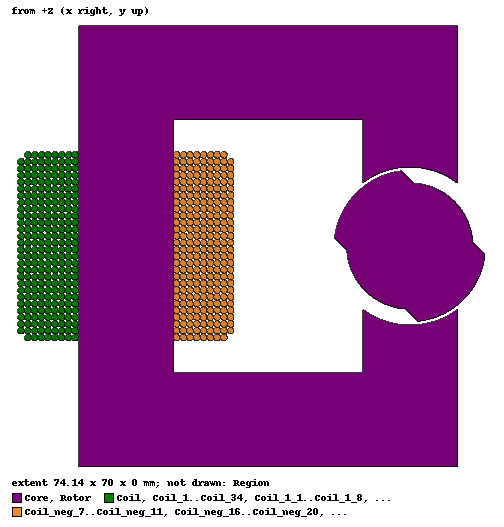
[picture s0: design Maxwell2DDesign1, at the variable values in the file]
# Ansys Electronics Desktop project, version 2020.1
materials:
  vacuum: permittivity=1
  copper: permeability=0.999991 conductivity=58000000
  air: permittivity=1.0006 permeability=1.0000004
  steel_1008: permeability{HUnit=A_per_meter BUnit=tesla curve (0, 0) (159.2, 0.2402) (318.3, 0.8654) (477.5, 1.1106) (636.6, 1.2458) (795.8, 1.331) (1591.5, 1.5) (3183.1, 1.6) (4774.6, 1.683) (6366.2, 1.741) (7957.7, 1.78) (15915.5, 1.905) (31831, 2.025) (47746.5, 2.085) (63662, 2.13) (79577.5, 2.165) (159155, 2.28) (318310, 2.485) (397887, 2.5851)} conductivity=2000000

design Maxwell2DDesign1 (Maxwell 2D, Magnetostatic, XY geometry, model units mm)
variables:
  theta_rot = 45deg
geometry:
  Rectangle1 = rectangle(corner=(-52.5mm, -35mm, 0mm), x_size=15mm, y_size=35mm)
  Rectangle2 = rectangle(corner=(-37.5mm, -35mm, 0mm), x_size=45mm, y_size=15mm)
  Rectangle3 = rectangle(corner=(-7.5mm, -20mm, 0mm), x_size=15mm, y_size=20mm)
  Rectangle1.unite(Rectangle2, Rectangle3)
  Core [steel_1008] = Rectangle1.duplicate_mirror(point=(-22mm, 0mm, 0mm), normal=(0mm, 1mm, 0mm))
  Core.unite(Rectangle1)
  Circle1 = circle(normal=Z, centre=(0mm, 0mm, 0mm), radius=12.5mm)
  Core.subtract(Circle1)
  Rotor [steel_1008] = circle(normal=Z, centre=(0mm, 0mm, 0mm), radius=10mm)
  Rectangle6 = rectangle(corner=(-7.5mm, -12mm, 0mm), x_size=15mm, y_size=24mm)
  Circle3 = circle(normal=Z, centre=(0mm, 0mm, 0mm), radius=12mm)
  Rectangle6.intersect(Circle3)
  Rotor.unite(Rectangle6)
  Rotor.rotate(axis=Z, angle=theta_rot)
  Region [air] = region(percentage_offset: +X=100, -X=100, +Y=100, -Y=100, +Z=0, -Z=0)
  Coil [copper] = circle(normal=Z, centre=(-53.0357mm, -14.4643mm, 0mm), radius=0.5357mm)
  Coil_1..Coil_27 [copper] = Coil.duplicate_along_line(step=(0mm, 1.0714mm, 0mm), total=28)
  Coil_28..Coil_34 [copper] = Coil.duplicate_along_line(step=(-1.0714mm, 0mm, 0mm), total=9)  # copies kept: 1..7
  Coil_1_1..Coil_1_8 [copper] = Coil_1.duplicate_along_line(step=(-1.0714mm, 0mm, 0mm), total=9)
  Coil_2_1..Coil_2_8 [copper] = Coil_2.duplicate_along_line(step=(-1.0714mm, 0mm, 0mm), total=9)
  Coil_3_1..Coil_3_8 [copper] = Coil_3.duplicate_along_line(step=(-1.0714mm, 0mm, 0mm), total=9)
  Coil_4_1..Coil_4_8 [copper] = Coil_4.duplicate_along_line(step=(-1.0714mm, 0mm, 0mm), total=9)
  Coil_5_1..Coil_5_8 [copper] = Coil_5.duplicate_along_line(step=(-1.0714mm, 0mm, 0mm), total=9)
  Coil_6_1..Coil_6_8 [copper] = Coil_6.duplicate_along_line(step=(-1.0714mm, 0mm, 0mm), total=9)
  Coil_7_1..Coil_7_8 [copper] = Coil_7.duplicate_along_line(step=(-1.0714mm, 0mm, 0mm), total=9)
  Coil_8_1..Coil_8_8 [copper] = Coil_8.duplicate_along_line(step=(-1.0714mm, 0mm, 0mm), total=9)
  Coil_9_1..Coil_9_8 [copper] = Coil_9.duplicate_along_line(step=(-1.0714mm, 0mm, 0mm), total=9)
  Coil_10_1..Coil_10_8 [copper] = Coil_10.duplicate_along_line(step=(-1.0714mm, 0mm, 0mm), total=9)
  Coil_11_1..Coil_11_8 [copper] = Coil_11.duplicate_along_line(step=(-1.0714mm, 0mm, 0mm), total=9)
  Coil_12_1..Coil_12_8 [copper] = Coil_12.duplicate_along_line(step=(-1.0714mm, 0mm, 0mm), total=9)
  Coil_13_1..Coil_13_8 [copper] = Coil_13.duplicate_along_line(step=(-1.0714mm, 0mm, 0mm), total=9)
  Coil_14_1..Coil_14_8 [copper] = Coil_14.duplicate_along_line(step=(-1.0714mm, 0mm, 0mm), total=9)
  Coil_15_1..Coil_15_8 [copper] = Coil_15.duplicate_along_line(step=(-1.0714mm, 0mm, 0mm), total=9)
  Coil_16_1..Coil_16_8 [copper] = Coil_16.duplicate_along_line(step=(-1.0714mm, 0mm, 0mm), total=9)
  Coil_17_1..Coil_17_8 [copper] = Coil_17.duplicate_along_line(step=(-1.0714mm, 0mm, 0mm), total=9)
  Coil_18_1..Coil_18_8 [copper] = Coil_18.duplicate_along_line(step=(-1.0714mm, 0mm, 0mm), total=9)
  Coil_19_1..Coil_19_8 [copper] = Coil_19.duplicate_along_line(step=(-1.0714mm, 0mm, 0mm), total=9)
  Coil_20_1..Coil_20_8 [copper] = Coil_20.duplicate_along_line(step=(-1.0714mm, 0mm, 0mm), total=9)
  Coil_21_1..Coil_21_8 [copper] = Coil_21.duplicate_along_line(step=(-1.0714mm, 0mm, 0mm), total=9)
  Coil_22_1..Coil_22_8 [copper] = Coil_22.duplicate_along_line(step=(-1.0714mm, 0mm, 0mm), total=9)
  Coil_23_1..Coil_23_8 [copper] = Coil_23.duplicate_along_line(step=(-1.0714mm, 0mm, 0mm), total=9)
  Coil_24_1..Coil_24_8 [copper] = Coil_24.duplicate_along_line(step=(-1.0714mm, 0mm, 0mm), total=9)
  Coil_25_1..Coil_25_8 [copper] = Coil_25.duplicate_along_line(step=(-1.0714mm, 0mm, 0mm), total=9)
  Coil_26_1..Coil_26_8 [copper] = Coil_26.duplicate_along_line(step=(-1.0714mm, 0mm, 0mm), total=9)
  Coil_27_1..Coil_27_7 [copper] = Coil_27.duplicate_along_line(step=(-1.0714mm, 0mm, 0mm), total=9)  # copies kept: 1..7
  Coil_neg [copper] = circle(normal=Z, centre=(-36.9643mm, -14.4643mm, 0mm), radius=0.5357mm)
  Coil_neg_1..Coil_neg_27 [copper] = Coil_neg.duplicate_along_line(step=(0mm, 1.0714mm, 0mm), total=28)
  Coil_neg_28..Coil_neg_34 [copper] = Coil_neg.duplicate_along_line(step=(1.0714mm, 0mm, 0mm), total=9)  # copies kept: 1..7
  Coil_neg_1_1..Coil_neg_1_8 [copper] = Coil_neg_1.duplicate_along_line(step=(1.0714mm, 0mm, 0mm), total=9)
  Coil_neg_2_1..Coil_neg_2_8 [copper] = Coil_neg_2.duplicate_along_line(step=(1.0714mm, 0mm, 0mm), total=9)
  Coil_neg_3_1..Coil_neg_3_8 [copper] = Coil_neg_3.duplicate_along_line(step=(1.0714mm, 0mm, 0mm), total=9)
  Coil_neg_4_1..Coil_neg_4_8 [copper] = Coil_neg_4.duplicate_along_line(step=(1.0714mm, 0mm, 0mm), total=9)
  Coil_neg_5_1..Coil_neg_5_8 [copper] = Coil_neg_5.duplicate_along_line(step=(1.0714mm, 0mm, 0mm), total=9)
  Coil_neg_6_1..Coil_neg_6_8 [copper] = Coil_neg_6.duplicate_along_line(step=(1.0714mm, 0mm, 0mm), total=9)
  Coil_neg_7_1..Coil_neg_7_8 [copper] = Coil_neg_7.duplicate_along_line(step=(1.0714mm, 0mm, 0mm), total=9)
  Coil_neg_8_1..Coil_neg_8_8 [copper] = Coil_neg_8.duplicate_along_line(step=(1.0714mm, 0mm, 0mm), total=9)
  Coil_neg_9_1..Coil_neg_9_8 [copper] = Coil_neg_9.duplicate_along_line(step=(1.0714mm, 0mm, 0mm), total=9)
  Coil_neg_10_1..Coil_neg_10_8 [copper] = Coil_neg_10.duplicate_along_line(step=(1.0714mm, 0mm, 0mm), total=9)
  Coil_neg_11_1..Coil_neg_11_8 [copper] = Coil_neg_11.duplicate_along_line(step=(1.0714mm, 0mm, 0mm), total=9)
  Coil_neg_12_1..Coil_neg_12_8 [copper] = Coil_neg_12.duplicate_along_line(step=(1.0714mm, 0mm, 0mm), total=9)
  Coil_neg_13_1..Coil_neg_13_8 [copper] = Coil_neg_13.duplicate_along_line(step=(1.0714mm, 0mm, 0mm), total=9)
  Coil_neg_14_1..Coil_neg_14_8 [copper] = Coil_neg_14.duplicate_along_line(step=(1.0714mm, 0mm, 0mm), total=9)
  Coil_neg_15_1..Coil_neg_15_8 [copper] = Coil_neg_15.duplicate_along_line(step=(1.0714mm, 0mm, 0mm), total=9)
  Coil_neg_16_1..Coil_neg_16_8 [copper] = Coil_neg_16.duplicate_along_line(step=(1.0714mm, 0mm, 0mm), total=9)
  Coil_neg_17_1..Coil_neg_17_8 [copper] = Coil_neg_17.duplicate_along_line(step=(1.0714mm, 0mm, 0mm), total=9)
  Coil_neg_18_1..Coil_neg_18_8 [copper] = Coil_neg_18.duplicate_along_line(step=(1.0714mm, 0mm, 0mm), total=9)
  Coil_neg_19_1..Coil_neg_19_8 [copper] = Coil_neg_19.duplicate_along_line(step=(1.0714mm, 0mm, 0mm), total=9)
  Coil_neg_20_1..Coil_neg_20_8 [copper] = Coil_neg_20.duplicate_along_line(step=(1.0714mm, 0mm, 0mm), total=9)
  Coil_neg_21_1..Coil_neg_21_8 [copper] = Coil_neg_21.duplicate_along_line(step=(1.0714mm, 0mm, 0mm), total=9)
  Coil_neg_22_1..Coil_neg_22_8 [copper] = Coil_neg_22.duplicate_along_line(step=(1.0714mm, 0mm, 0mm), total=9)
  Coil_neg_23_1..Coil_neg_23_8 [copper] = Coil_neg_23.duplicate_along_line(step=(1.0714mm, 0mm, 0mm), total=9)
  Coil_neg_24_1..Coil_neg_24_8 [copper] = Coil_neg_24.duplicate_along_line(step=(1.0714mm, 0mm, 0mm), total=9)
  Coil_neg_25_1..Coil_neg_25_8 [copper] = Coil_neg_25.duplicate_along_line(step=(1.0714mm, 0mm, 0mm), total=9)
  Coil_neg_26_1..Coil_neg_26_8 [copper] = Coil_neg_26.duplicate_along_line(step=(1.0714mm, 0mm, 0mm), total=9)
  Coil_neg_27_1..Coil_neg_27_7 [copper] = Coil_neg_27.duplicate_along_line(step=(1.0714mm, 0mm, 0mm), total=9)  # copies kept: 1..7
  group Coil_positive = Coil, Coil_1..Coil_34, Coil_1_1..Coil_1_8, Coil_2_1..Coil_2_8, Coil_3_1..Coil_3_8, Coil_4_1..Coil_4_8, Coil_5_1..Coil_5_8, Coil_6_1..Coil_6_8, Coil_7_1..Coil_7_8, Coil_8_1..Coil_8_8, Coil_9_1..Coil_9_8, Coil_10_1..Coil_10_8, Coil_11_1..Coil_11_8, Coil_12_1..Coil_12_8, Coil_13_1..Coil_13_8, Coil_14_1..Coil_14_8, Coil_15_1..Coil_15_8, Coil_16_1..Coil_16_8, Coil_17_1..Coil_17_8, Coil_18_1..Coil_18_8, Coil_19_1..Coil_19_8, Coil_20_1..Coil_20_8, Coil_21_1..Coil_21_8, Coil_22_1..Coil_22_8, Coil_23_1..Coil_23_8, Coil_24_1..Coil_24_8, Coil_25_1..Coil_25_8, Coil_26_1..Coil_26_8, Coil_27_1..Coil_27_7
  group Coil_neg_Group = Coil_neg, Coil_neg_1..Coil_neg_34, Coil_neg_1_1..Coil_neg_1_8, Coil_neg_2_1..Coil_neg_2_8, Coil_neg_3_1..Coil_neg_3_8, Coil_neg_4_1..Coil_neg_4_8, Coil_neg_5_1..Coil_neg_5_8, Coil_neg_6_1..Coil_neg_6_8, Coil_neg_7_1..Coil_neg_7_8, Coil_neg_8_1..Coil_neg_8_8, Coil_neg_9_1..Coil_neg_9_8, Coil_neg_10_1..Coil_neg_10_8, Coil_neg_11_1..Coil_neg_11_8, Coil_neg_12_1..Coil_neg_12_8, Coil_neg_13_1..Coil_neg_13_8, Coil_neg_14_1..Coil_neg_14_8, Coil_neg_15_1..Coil_neg_15_8, Coil_neg_16_1..Coil_neg_16_8, Coil_neg_17_1..Coil_neg_17_8, Coil_neg_18_1..Coil_neg_18_8, Coil_neg_19_1..Coil_neg_19_8, Coil_neg_20_1..Coil_neg_20_8, Coil_neg_21_1..Coil_neg_21_8, Coil_neg_22_1..Coil_neg_22_8, Coil_neg_23_1..Coil_neg_23_8, Coil_neg_24_1..Coil_neg_24_8, Coil_neg_25_1..Coil_neg_25_8, Coil_neg_26_1..Coil_neg_26_8, Coil_neg_27_1..Coil_neg_27_7
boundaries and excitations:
  Balloon1: Balloon Edges=Region.edge(all 4)
  Current_1: Current Objects=Coil Current=3A IsPositive=true
  Current_2: Current Objects=Coil_1 Current=3A IsPositive=true
  Current_3: Current Objects=Coil_1_1 Current=3A IsPositive=true
  Current_4: Current Objects=Coil_1_2 Current=3A IsPositive=true
  Current_5: Current Objects=Coil_1_3 Current=3A IsPositive=true
  Current_6: Current Objects=Coil_1_4 Current=3A IsPositive=true
  Current_7: Current Objects=Coil_1_5 Current=3A IsPositive=true
  Current_8: Current Objects=Coil_1_6 Current=3A IsPositive=true
  Current_9: Current Objects=Coil_1_7 Current=3A IsPositive=true
  Current_10: Current Objects=Coil_1_8 Current=3A IsPositive=true
  Current_11: Current Objects=Coil_2 Current=3A IsPositive=true
  Current_12: Current Objects=Coil_2_1 Current=3A IsPositive=true
  Current_13: Current Objects=Coil_2_2 Current=3A IsPositive=true
  Current_14: Current Objects=Coil_2_3 Current=3A IsPositive=true
  Current_15: Current Objects=Coil_2_4 Current=3A IsPositive=true
  Current_16: Current Objects=Coil_2_5 Current=3A IsPositive=true
  Current_17: Current Objects=Coil_2_6 Current=3A IsPositive=true
  Current_18: Current Objects=Coil_2_7 Current=3A IsPositive=true
  Current_19: Current Objects=Coil_2_8 Current=3A IsPositive=true
  Current_20: Current Objects=Coil_3 Current=3A IsPositive=true
  Current_21: Current Objects=Coil_3_1 Current=3A IsPositive=true
  Current_22: Current Objects=Coil_3_2 Current=3A IsPositive=true
  Current_23: Current Objects=Coil_3_3 Current=3A IsPositive=true
  Current_24: Current Objects=Coil_3_4 Current=3A IsPositive=true
  Current_25: Current Objects=Coil_3_5 Current=3A IsPositive=true
  Current_26: Current Objects=Coil_3_6 Current=3A IsPositive=true
  Current_27: Current Objects=Coil_3_7 Current=3A IsPositive=true
  Current_28: Current Objects=Coil_3_8 Current=3A IsPositive=true
  Current_29: Current Objects=Coil_4 Current=3A IsPositive=true
  Current_30: Current Objects=Coil_4_1 Current=3A IsPositive=true
  Current_31: Current Objects=Coil_4_2 Current=3A IsPositive=true
  Current_32: Current Objects=Coil_4_3 Current=3A IsPositive=true
  Current_33: Current Objects=Coil_4_4 Current=3A IsPositive=true
  Current_34: Current Objects=Coil_4_5 Current=3A IsPositive=true
  Current_35: Current Objects=Coil_4_6 Current=3A IsPositive=true
  Current_36: Current Objects=Coil_4_7 Current=3A IsPositive=true
  Current_37: Current Objects=Coil_4_8 Current=3A IsPositive=true
  Current_38: Current Objects=Coil_5 Current=3A IsPositive=true
  Current_39: Current Objects=Coil_5_1 Current=3A IsPositive=true
  Current_40: Current Objects=Coil_5_2 Current=3A IsPositive=true
  Current_41: Current Objects=Coil_5_3 Current=3A IsPositive=true
  Current_42: Current Objects=Coil_5_4 Current=3A IsPositive=true
  Current_43: Current Objects=Coil_5_5 Current=3A IsPositive=true
  Current_44: Current Objects=Coil_5_6 Current=3A IsPositive=true
  Current_45: Current Objects=Coil_5_7 Current=3A IsPositive=true
  Current_46: Current Objects=Coil_5_8 Current=3A IsPositive=true
  Current_47: Current Objects=Coil_6 Current=3A IsPositive=true
  Current_48: Current Objects=Coil_6_1 Current=3A IsPositive=true
  Current_49: Current Objects=Coil_6_2 Current=3A IsPositive=true
  Current_50: Current Objects=Coil_6_3 Current=3A IsPositive=true
  Current_51: Current Objects=Coil_6_4 Current=3A IsPositive=true
  Current_52: Current Objects=Coil_6_5 Current=3A IsPositive=true
  Current_53: Current Objects=Coil_6_6 Current=3A IsPositive=true
  Current_54: Current Objects=Coil_6_7 Current=3A IsPositive=true
  Current_55: Current Objects=Coil_6_8 Current=3A IsPositive=true
  Current_56: Current Objects=Coil_7 Current=3A IsPositive=true
  Current_57: Current Objects=Coil_7_1 Current=3A IsPositive=true
  Current_58: Current Objects=Coil_7_2 Current=3A IsPositive=true
  Current_59: Current Objects=Coil_7_3 Current=3A IsPositive=true
  Current_60: Current Objects=Coil_7_4 Current=3A IsPositive=true
  Current_61: Current Objects=Coil_7_5 Current=3A IsPositive=true
  Current_62: Current Objects=Coil_7_6 Current=3A IsPositive=true
  Current_63: Current Objects=Coil_7_7 Current=3A IsPositive=true
  Current_64: Current Objects=Coil_7_8 Current=3A IsPositive=true
  Current_65: Current Objects=Coil_8 Current=3A IsPositive=true
  Current_66: Current Objects=Coil_8_1 Current=3A IsPositive=true
  Current_67: Current Objects=Coil_8_2 Current=3A IsPositive=true
  Current_68: Current Objects=Coil_8_3 Current=3A IsPositive=true
  Current_69: Current Objects=Coil_8_4 Current=3A IsPositive=true
  Current_70: Current Objects=Coil_8_5 Current=3A IsPositive=true
  Current_71: Current Objects=Coil_8_6 Current=3A IsPositive=true
  Current_72: Current Objects=Coil_8_7 Current=3A IsPositive=true
  Current_73: Current Objects=Coil_8_8 Current=3A IsPositive=true
  Current_74: Current Objects=Coil_9 Current=3A IsPositive=true
  Current_75: Current Objects=Coil_9_1 Current=3A IsPositive=true
  Current_76: Current Objects=Coil_9_2 Current=3A IsPositive=true
  Current_77: Current Objects=Coil_9_3 Current=3A IsPositive=true
  Current_78: Current Objects=Coil_9_4 Current=3A IsPositive=true
  Current_79: Current Objects=Coil_9_5 Current=3A IsPositive=true
  Current_80: Current Objects=Coil_9_6 Current=3A IsPositive=true
  Current_81: Current Objects=Coil_9_7 Current=3A IsPositive=true
  Current_82: Current Objects=Coil_9_8 Current=3A IsPositive=true
  Current_83: Current Objects=Coil_10 Current=3A IsPositive=true
  Current_84: Current Objects=Coil_10_1 Current=3A IsPositive=true
  Current_85: Current Objects=Coil_10_2 Current=3A IsPositive=true
  Current_86: Current Objects=Coil_10_3 Current=3A IsPositive=true
  Current_87: Current Objects=Coil_10_4 Current=3A IsPositive=true
  Current_88: Current Objects=Coil_10_5 Current=3A IsPositive=true
  Current_89: Current Objects=Coil_10_6 Current=3A IsPositive=true
  Current_90: Current Objects=Coil_10_7 Current=3A IsPositive=true
  Current_91: Current Objects=Coil_10_8 Current=3A IsPositive=true
  Current_92: Current Objects=Coil_11 Current=3A IsPositive=true
  Current_93: Current Objects=Coil_11_1 Current=3A IsPositive=true
  Current_94: Current Objects=Coil_11_2 Current=3A IsPositive=true
  Current_95: Current Objects=Coil_11_3 Current=3A IsPositive=true
  Current_96: Current Objects=Coil_11_4 Current=3A IsPositive=true
  Current_97: Current Objects=Coil_11_5 Current=3A IsPositive=true
  Current_98: Current Objects=Coil_11_6 Current=3A IsPositive=true
  Current_99: Current Objects=Coil_11_7 Current=3A IsPositive=true
  Current_100: Current Objects=Coil_11_8 Current=3A IsPositive=true
  Current_101: Current Objects=Coil_12 Current=3A IsPositive=true
  Current_102: Current Objects=Coil_12_1 Current=3A IsPositive=true
  Current_103: Current Objects=Coil_12_2 Current=3A IsPositive=true
  Current_104: Current Objects=Coil_12_3 Current=3A IsPositive=true
  Current_105: Current Objects=Coil_12_4 Current=3A IsPositive=true
  Current_106: Current Objects=Coil_12_5 Current=3A IsPositive=true
  Current_107: Current Objects=Coil_12_6 Current=3A IsPositive=true
  Current_108: Current Objects=Coil_12_7 Current=3A IsPositive=true
  Current_109: Current Objects=Coil_12_8 Current=3A IsPositive=true
  Current_110: Current Objects=Coil_13 Current=3A IsPositive=true
  Current_111: Current Objects=Coil_13_1 Current=3A IsPositive=true
  Current_112: Current Objects=Coil_13_2 Current=3A IsPositive=true
  Current_113: Current Objects=Coil_13_3 Current=3A IsPositive=true
  Current_114: Current Objects=Coil_13_4 Current=3A IsPositive=true
  Current_115: Current Objects=Coil_13_5 Current=3A IsPositive=true
  Current_116: Current Objects=Coil_13_6 Current=3A IsPositive=true
  Current_117: Current Objects=Coil_13_7 Current=3A IsPositive=true
  Current_118: Current Objects=Coil_13_8 Current=3A IsPositive=true
  Current_119: Current Objects=Coil_14 Current=3A IsPositive=true
  Current_120: Current Objects=Coil_14_1 Current=3A IsPositive=true
  Current_121: Current Objects=Coil_14_2 Current=3A IsPositive=true
  Current_122: Current Objects=Coil_14_3 Current=3A IsPositive=true
  Current_123: Current Objects=Coil_14_4 Current=3A IsPositive=true
  Current_124: Current Objects=Coil_14_5 Current=3A IsPositive=true
  Current_125: Current Objects=Coil_14_6 Current=3A IsPositive=true
  Current_126: Current Objects=Coil_14_7 Current=3A IsPositive=true
  Current_127: Current Objects=Coil_14_8 Current=3A IsPositive=true
  Current_128: Current Objects=Coil_15 Current=3A IsPositive=true
  Current_129: Current Objects=Coil_15_1 Current=3A IsPositive=true
  Current_130: Current Objects=Coil_15_2 Current=3A IsPositive=true
  Current_131: Current Objects=Coil_15_3 Current=3A IsPositive=true
  Current_132: Current Objects=Coil_15_4 Current=3A IsPositive=true
  Current_133: Current Objects=Coil_15_5 Current=3A IsPositive=true
  Current_134: Current Objects=Coil_15_6 Current=3A IsPositive=true
  Current_135: Current Objects=Coil_15_7 Current=3A IsPositive=true
  Current_136: Current Objects=Coil_15_8 Current=3A IsPositive=true
  Current_137: Current Objects=Coil_16 Current=3A IsPositive=true
  Current_138: Current Objects=Coil_16_1 Current=3A IsPositive=true
  Current_139: Current Objects=Coil_16_2 Current=3A IsPositive=true
  Current_140: Current Objects=Coil_16_3 Current=3A IsPositive=true
  Current_141: Current Objects=Coil_16_4 Current=3A IsPositive=true
  Current_142: Current Objects=Coil_16_5 Current=3A IsPositive=true
  Current_143: Current Objects=Coil_16_6 Current=3A IsPositive=true
  Current_144: Current Objects=Coil_16_7 Current=3A IsPositive=true
  Current_145: Current Objects=Coil_16_8 Current=3A IsPositive=true
  Current_146: Current Objects=Coil_17 Current=3A IsPositive=true
  Current_147: Current Objects=Coil_17_1 Current=3A IsPositive=true
  Current_148: Current Objects=Coil_17_2 Current=3A IsPositive=true
  Current_149: Current Objects=Coil_17_3 Current=3A IsPositive=true
  Current_150: Current Objects=Coil_17_4 Current=3A IsPositive=true
  Current_151: Current Objects=Coil_17_5 Current=3A IsPositive=true
  Current_152: Current Objects=Coil_17_6 Current=3A IsPositive=true
  Current_153: Current Objects=Coil_17_7 Current=3A IsPositive=true
  Current_154: Current Objects=Coil_17_8 Current=3A IsPositive=true
  Current_155: Current Objects=Coil_18 Current=3A IsPositive=true
  Current_156: Current Objects=Coil_18_1 Current=3A IsPositive=true
  Current_157: Current Objects=Coil_18_2 Current=3A IsPositive=true
  Current_158: Current Objects=Coil_18_3 Current=3A IsPositive=true
  Current_159: Current Objects=Coil_18_4 Current=3A IsPositive=true
  Current_160: Current Objects=Coil_18_5 Current=3A IsPositive=true
  Current_161: Current Objects=Coil_18_6 Current=3A IsPositive=true
  Current_162: Current Objects=Coil_18_7 Current=3A IsPositive=true
  Current_163: Current Objects=Coil_18_8 Current=3A IsPositive=true
  Current_164: Current Objects=Coil_19 Current=3A IsPositive=true
  Current_165: Current Objects=Coil_19_1 Current=3A IsPositive=true
  Current_166: Current Objects=Coil_19_2 Current=3A IsPositive=true
  Current_167: Current Objects=Coil_19_3 Current=3A IsPositive=true
  Current_168: Current Objects=Coil_19_4 Current=3A IsPositive=true
  Current_169: Current Objects=Coil_19_5 Current=3A IsPositive=true
  Current_170: Current Objects=Coil_19_6 Current=3A IsPositive=true
  Current_171: Current Objects=Coil_19_7 Current=3A IsPositive=true
  Current_172: Current Objects=Coil_19_8 Current=3A IsPositive=true
  Current_173: Current Objects=Coil_20 Current=3A IsPositive=true
  Current_174: Current Objects=Coil_20_1 Current=3A IsPositive=true
  Current_175: Current Objects=Coil_20_2 Current=3A IsPositive=true
  Current_176: Current Objects=Coil_20_3 Current=3A IsPositive=true
  Current_177: Current Objects=Coil_20_4 Current=3A IsPositive=true
  Current_178: Current Objects=Coil_20_5 Current=3A IsPositive=true
  Current_179: Current Objects=Coil_20_6 Current=3A IsPositive=true
  Current_180: Current Objects=Coil_20_7 Current=3A IsPositive=true
  Current_181: Current Objects=Coil_20_8 Current=3A IsPositive=true
  Current_182: Current Objects=Coil_21 Current=3A IsPositive=true
  Current_183: Current Objects=Coil_21_1 Current=3A IsPositive=true
  Current_184: Current Objects=Coil_21_2 Current=3A IsPositive=true
  Current_185: Current Objects=Coil_21_3 Current=3A IsPositive=true
  Current_186: Current Objects=Coil_21_4 Current=3A IsPositive=true
  Current_187: Current Objects=Coil_21_5 Current=3A IsPositive=true
  Current_188: Current Objects=Coil_21_6 Current=3A IsPositive=true
  Current_189: Current Objects=Coil_21_7 Current=3A IsPositive=true
  Current_190: Current Objects=Coil_21_8 Current=3A IsPositive=true
  Current_191: Current Objects=Coil_22 Current=3A IsPositive=true
  Current_192: Current Objects=Coil_22_1 Current=3A IsPositive=true
  Current_193: Current Objects=Coil_22_2 Current=3A IsPositive=true
  Current_194: Current Objects=Coil_22_3 Current=3A IsPositive=true
  Current_195: Current Objects=Coil_22_4 Current=3A IsPositive=true
  Current_196: Current Objects=Coil_22_5 Current=3A IsPositive=true
  Current_197: Current Objects=Coil_22_6 Current=3A IsPositive=true
  Current_198: Current Objects=Coil_22_7 Current=3A IsPositive=true
  Current_199: Current Objects=Coil_22_8 Current=3A IsPositive=true
  Current_200: Current Objects=Coil_23 Current=3A IsPositive=true
  Current_201: Current Objects=Coil_23_1 Current=3A IsPositive=true
  Current_202: Current Objects=Coil_23_2 Current=3A IsPositive=true
  Current_203: Current Objects=Coil_23_3 Current=3A IsPositive=true
  Current_204: Current Objects=Coil_23_4 Current=3A IsPositive=true
  Current_205: Current Objects=Coil_23_5 Current=3A IsPositive=true
  Current_206: Current Objects=Coil_23_6 Current=3A IsPositive=true
  Current_207: Current Objects=Coil_23_7 Current=3A IsPositive=true
  Current_208: Current Objects=Coil_23_8 Current=3A IsPositive=true
  Current_209: Current Objects=Coil_24 Current=3A IsPositive=true
  Current_210: Current Objects=Coil_24_1 Current=3A IsPositive=true
  Current_211: Current Objects=Coil_24_2 Current=3A IsPositive=true
  Current_212: Current Objects=Coil_24_3 Current=3A IsPositive=true
  Current_213: Current Objects=Coil_24_4 Current=3A IsPositive=true
  Current_214: Current Objects=Coil_24_5 Current=3A IsPositive=true
  Current_215: Current Objects=Coil_24_6 Current=3A IsPositive=true
  Current_216: Current Objects=Coil_24_7 Current=3A IsPositive=true
  Current_217: Current Objects=Coil_24_8 Current=3A IsPositive=true
  Current_218: Current Objects=Coil_25 Current=3A IsPositive=true
  Current_219: Current Objects=Coil_25_1 Current=3A IsPositive=true
  Current_220: Current Objects=Coil_25_2 Current=3A IsPositive=true
  Current_221: Current Objects=Coil_25_3 Current=3A IsPositive=true
  Current_222: Current Objects=Coil_25_4 Current=3A IsPositive=true
  Current_223: Current Objects=Coil_25_5 Current=3A IsPositive=true
  Current_224: Current Objects=Coil_25_6 Current=3A IsPositive=true
  Current_225: Current Objects=Coil_25_7 Current=3A IsPositive=true
  Current_226: Current Objects=Coil_25_8 Current=3A IsPositive=true
  Current_227: Current Objects=Coil_26 Current=3A IsPositive=true
  Current_228: Current Objects=Coil_26_1 Current=3A IsPositive=true
  Current_229: Current Objects=Coil_26_2 Current=3A IsPositive=true
  Current_230: Current Objects=Coil_26_3 Current=3A IsPositive=true
  Current_231: Current Objects=Coil_26_4 Current=3A IsPositive=true
  Current_232: Current Objects=Coil_26_5 Current=3A IsPositive=true
  Current_233: Current Objects=Coil_26_6 Current=3A IsPositive=true
  Current_234: Current Objects=Coil_26_7 Current=3A IsPositive=true
  Current_235: Current Objects=Coil_26_8 Current=3A IsPositive=true
  Current_236: Current Objects=Coil_27 Current=3A IsPositive=true
  Current_237: Current Objects=Coil_27_1 Current=3A IsPositive=true
  Current_238: Current Objects=Coil_27_2 Current=3A IsPositive=true
  Current_239: Current Objects=Coil_27_3 Current=3A IsPositive=true
  Current_240: Current Objects=Coil_27_4 Current=3A IsPositive=true
  Current_241: Current Objects=Coil_27_5 Current=3A IsPositive=true
  Current_242: Current Objects=Coil_27_6 Current=3A IsPositive=true
  Current_243: Current Objects=Coil_27_7 Current=3A IsPositive=true
  Current_245: Current Objects=Coil_28 Current=3A IsPositive=true
  Current_246: Current Objects=Coil_29 Current=3A IsPositive=true
  Current_247: Current Objects=Coil_30 Current=3A IsPositive=true
  Current_248: Current Objects=Coil_31 Current=3A IsPositive=true
  Current_249: Current Objects=Coil_32 Current=3A IsPositive=true
  Current_250: Current Objects=Coil_33 Current=3A IsPositive=true
  Current_251: Current Objects=Coil_34 Current=3A IsPositive=true
  Current_253: Current Objects=Coil_neg Current=3A IsPositive=false
  Current_254: Current Objects=Coil_neg_1 Current=3A IsPositive=false
  Current_255: Current Objects=Coil_neg_1_1 Current=3A IsPositive=false
  Current_256: Current Objects=Coil_neg_1_2 Current=3A IsPositive=false
  Current_257: Current Objects=Coil_neg_1_3 Current=3A IsPositive=false
  Current_258: Current Objects=Coil_neg_1_4 Current=3A IsPositive=false
  Current_259: Current Objects=Coil_neg_1_5 Current=3A IsPositive=false
  Current_260: Current Objects=Coil_neg_1_6 Current=3A IsPositive=false
  Current_261: Current Objects=Coil_neg_1_7 Current=3A IsPositive=false
  Current_262: Current Objects=Coil_neg_1_8 Current=3A IsPositive=false
  Current_263: Current Objects=Coil_neg_2 Current=3A IsPositive=false
  Current_264: Current Objects=Coil_neg_2_1 Current=3A IsPositive=false
  Current_265: Current Objects=Coil_neg_2_2 Current=3A IsPositive=false
  Current_266: Current Objects=Coil_neg_2_3 Current=3A IsPositive=false
  Current_267: Current Objects=Coil_neg_2_4 Current=3A IsPositive=false
  Current_268: Current Objects=Coil_neg_2_5 Current=3A IsPositive=false
  Current_269: Current Objects=Coil_neg_2_6 Current=3A IsPositive=false
  Current_270: Current Objects=Coil_neg_2_7 Current=3A IsPositive=false
  Current_271: Current Objects=Coil_neg_2_8 Current=3A IsPositive=false
  Current_272: Current Objects=Coil_neg_3 Current=3A IsPositive=false
  Current_273: Current Objects=Coil_neg_3_1 Current=3A IsPositive=false
  Current_274: Current Objects=Coil_neg_3_2 Current=3A IsPositive=false
  Current_275: Current Objects=Coil_neg_3_3 Current=3A IsPositive=false
  Current_276: Current Objects=Coil_neg_3_4 Current=3A IsPositive=false
  Current_277: Current Objects=Coil_neg_3_5 Current=3A IsPositive=false
  Current_278: Current Objects=Coil_neg_3_6 Current=3A IsPositive=false
  Current_279: Current Objects=Coil_neg_3_7 Current=3A IsPositive=false
  Current_280: Current Objects=Coil_neg_3_8 Current=3A IsPositive=false
  Current_281: Current Objects=Coil_neg_4 Current=3A IsPositive=false
  Current_282: Current Objects=Coil_neg_4_1 Current=3A IsPositive=false
  Current_283: Current Objects=Coil_neg_4_2 Current=3A IsPositive=false
  Current_284: Current Objects=Coil_neg_4_3 Current=3A IsPositive=false
  Current_285: Current Objects=Coil_neg_4_4 Current=3A IsPositive=false
  Current_286: Current Objects=Coil_neg_4_5 Current=3A IsPositive=false
  Current_287: Current Objects=Coil_neg_4_6 Current=3A IsPositive=false
  Current_288: Current Objects=Coil_neg_4_7 Current=3A IsPositive=false
  Current_289: Current Objects=Coil_neg_4_8 Current=3A IsPositive=false
  Current_290: Current Objects=Coil_neg_5 Current=3A IsPositive=false
  Current_291: Current Objects=Coil_neg_5_1 Current=3A IsPositive=false
  Current_292: Current Objects=Coil_neg_5_2 Current=3A IsPositive=false
  Current_293: Current Objects=Coil_neg_5_3 Current=3A IsPositive=false
  Current_294: Current Objects=Coil_neg_5_4 Current=3A IsPositive=false
  Current_295: Current Objects=Coil_neg_5_5 Current=3A IsPositive=false
  Current_296: Current Objects=Coil_neg_5_6 Current=3A IsPositive=false
  Current_297: Current Objects=Coil_neg_5_7 Current=3A IsPositive=false
  Current_298: Current Objects=Coil_neg_5_8 Current=3A IsPositive=false
  Current_299: Current Objects=Coil_neg_6 Current=3A IsPositive=false
  Current_300: Current Objects=Coil_neg_6_1 Current=3A IsPositive=false
  Current_301: Current Objects=Coil_neg_6_2 Current=3A IsPositive=false
  Current_302: Current Objects=Coil_neg_6_3 Current=3A IsPositive=false
  Current_303: Current Objects=Coil_neg_6_4 Current=3A IsPositive=false
  Current_304: Current Objects=Coil_neg_6_5 Current=3A IsPositive=false
  Current_305: Current Objects=Coil_neg_6_6 Current=3A IsPositive=false
  Current_306: Current Objects=Coil_neg_6_7 Current=3A IsPositive=false
  Current_307: Current Objects=Coil_neg_6_8 Current=3A IsPositive=false
  Current_308: Current Objects=Coil_neg_7 Current=3A IsPositive=false
  Current_309: Current Objects=Coil_neg_7_1 Current=3A IsPositive=false
  Current_310: Current Objects=Coil_neg_7_2 Current=3A IsPositive=false
  Current_311: Current Objects=Coil_neg_7_3 Current=3A IsPositive=false
  Current_312: Current Objects=Coil_neg_7_4 Current=3A IsPositive=false
  Current_313: Current Objects=Coil_neg_7_5 Current=3A IsPositive=false
  Current_314: Current Objects=Coil_neg_7_6 Current=3A IsPositive=false
  Current_315: Current Objects=Coil_neg_7_7 Current=3A IsPositive=false
  Current_316: Current Objects=Coil_neg_7_8 Current=3A IsPositive=false
  Current_317: Current Objects=Coil_neg_8 Current=3A IsPositive=false
  Current_318: Current Objects=Coil_neg_8_1 Current=3A IsPositive=false
  Current_319: Current Objects=Coil_neg_8_2 Current=3A IsPositive=false
  Current_320: Current Objects=Coil_neg_8_3 Current=3A IsPositive=false
  Current_321: Current Objects=Coil_neg_8_4 Current=3A IsPositive=false
  Current_322: Current Objects=Coil_neg_8_5 Current=3A IsPositive=false
  Current_323: Current Objects=Coil_neg_8_6 Current=3A IsPositive=false
  Current_324: Current Objects=Coil_neg_8_7 Current=3A IsPositive=false
  Current_325: Current Objects=Coil_neg_8_8 Current=3A IsPositive=false
  Current_326: Current Objects=Coil_neg_9 Current=3A IsPositive=false
  Current_327: Current Objects=Coil_neg_9_1 Current=3A IsPositive=false
  Current_328: Current Objects=Coil_neg_9_2 Current=3A IsPositive=false
  Current_329: Current Objects=Coil_neg_9_3 Current=3A IsPositive=false
  Current_330: Current Objects=Coil_neg_9_4 Current=3A IsPositive=false
  Current_331: Current Objects=Coil_neg_9_5 Current=3A IsPositive=false
  Current_332: Current Objects=Coil_neg_9_6 Current=3A IsPositive=false
  Current_333: Current Objects=Coil_neg_9_7 Current=3A IsPositive=false
  Current_334: Current Objects=Coil_neg_9_8 Current=3A IsPositive=false
  Current_335: Current Objects=Coil_neg_10 Current=3A IsPositive=false
  Current_336: Current Objects=Coil_neg_10_1 Current=3A IsPositive=false
  Current_337: Current Objects=Coil_neg_10_2 Current=3A IsPositive=false
  Current_338: Current Objects=Coil_neg_10_3 Current=3A IsPositive=false
  Current_339: Current Objects=Coil_neg_10_4 Current=3A IsPositive=false
  Current_340: Current Objects=Coil_neg_10_5 Current=3A IsPositive=false
  Current_341: Current Objects=Coil_neg_10_6 Current=3A IsPositive=false
  Current_342: Current Objects=Coil_neg_10_7 Current=3A IsPositive=false
  Current_343: Current Objects=Coil_neg_10_8 Current=3A IsPositive=false
  Current_344: Current Objects=Coil_neg_11 Current=3A IsPositive=false
  Current_345: Current Objects=Coil_neg_11_1 Current=3A IsPositive=false
  Current_346: Current Objects=Coil_neg_11_2 Current=3A IsPositive=false
  Current_347: Current Objects=Coil_neg_11_3 Current=3A IsPositive=false
  Current_348: Current Objects=Coil_neg_11_4 Current=3A IsPositive=false
  Current_349: Current Objects=Coil_neg_11_5 Current=3A IsPositive=false
  Current_350: Current Objects=Coil_neg_11_6 Current=3A IsPositive=false
  Current_351: Current Objects=Coil_neg_11_7 Current=3A IsPositive=false
  Current_352: Current Objects=Coil_neg_11_8 Current=3A IsPositive=false
  Current_353: Current Objects=Coil_neg_12 Current=3A IsPositive=false
  Current_354: Current Objects=Coil_neg_12_1 Current=3A IsPositive=false
  Current_355: Current Objects=Coil_neg_12_2 Current=3A IsPositive=false
  Current_356: Current Objects=Coil_neg_12_3 Current=3A IsPositive=false
  Current_357: Current Objects=Coil_neg_12_4 Current=3A IsPositive=false
  Current_358: Current Objects=Coil_neg_12_5 Current=3A IsPositive=false
  Current_359: Current Objects=Coil_neg_12_6 Current=3A IsPositive=false
  Current_360: Current Objects=Coil_neg_12_7 Current=3A IsPositive=false
  Current_361: Current Objects=Coil_neg_12_8 Current=3A IsPositive=false
  Current_362: Current Objects=Coil_neg_13 Current=3A IsPositive=false
  Current_363: Current Objects=Coil_neg_13_1 Current=3A IsPositive=false
  Current_364: Current Objects=Coil_neg_13_2 Current=3A IsPositive=false
  Current_365: Current Objects=Coil_neg_13_3 Current=3A IsPositive=false
  Current_366: Current Objects=Coil_neg_13_4 Current=3A IsPositive=false
  Current_367: Current Objects=Coil_neg_13_5 Current=3A IsPositive=false
  Current_368: Current Objects=Coil_neg_13_6 Current=3A IsPositive=false
  Current_369: Current Objects=Coil_neg_13_7 Current=3A IsPositive=false
  Current_370: Current Objects=Coil_neg_13_8 Current=3A IsPositive=false
  Current_371: Current Objects=Coil_neg_14 Current=3A IsPositive=false
  Current_372: Current Objects=Coil_neg_14_1 Current=3A IsPositive=false
  Current_373: Current Objects=Coil_neg_14_2 Current=3A IsPositive=false
  Current_374: Current Objects=Coil_neg_14_3 Current=3A IsPositive=false
  Current_375: Current Objects=Coil_neg_14_4 Current=3A IsPositive=false
  Current_376: Current Objects=Coil_neg_14_5 Current=3A IsPositive=false
  Current_377: Current Objects=Coil_neg_14_6 Current=3A IsPositive=false
  Current_378: Current Objects=Coil_neg_14_7 Current=3A IsPositive=false
  Current_379: Current Objects=Coil_neg_14_8 Current=3A IsPositive=false
  Current_380: Current Objects=Coil_neg_15 Current=3A IsPositive=false
  Current_381: Current Objects=Coil_neg_15_1 Current=3A IsPositive=false
  Current_382: Current Objects=Coil_neg_15_2 Current=3A IsPositive=false
  Current_383: Current Objects=Coil_neg_15_3 Current=3A IsPositive=false
  Current_384: Current Objects=Coil_neg_15_4 Current=3A IsPositive=false
  Current_385: Current Objects=Coil_neg_15_5 Current=3A IsPositive=false
  Current_386: Current Objects=Coil_neg_15_6 Current=3A IsPositive=false
  Current_387: Current Objects=Coil_neg_15_7 Current=3A IsPositive=false
  Current_388: Current Objects=Coil_neg_15_8 Current=3A IsPositive=false
  Current_389: Current Objects=Coil_neg_16 Current=3A IsPositive=false
  Current_390: Current Objects=Coil_neg_16_1 Current=3A IsPositive=false
  Current_391: Current Objects=Coil_neg_16_2 Current=3A IsPositive=false
  Current_392: Current Objects=Coil_neg_16_3 Current=3A IsPositive=false
  Current_393: Current Objects=Coil_neg_16_4 Current=3A IsPositive=false
  Current_394: Current Objects=Coil_neg_16_5 Current=3A IsPositive=false
  Current_395: Current Objects=Coil_neg_16_6 Current=3A IsPositive=false
  Current_396: Current Objects=Coil_neg_16_7 Current=3A IsPositive=false
  Current_397: Current Objects=Coil_neg_16_8 Current=3A IsPositive=false
  Current_398: Current Objects=Coil_neg_17 Current=3A IsPositive=false
  Current_399: Current Objects=Coil_neg_17_1 Current=3A IsPositive=false
  Current_400: Current Objects=Coil_neg_17_2 Current=3A IsPositive=false
  Current_401: Current Objects=Coil_neg_17_3 Current=3A IsPositive=false
  Current_402: Current Objects=Coil_neg_17_4 Current=3A IsPositive=false
  Current_403: Current Objects=Coil_neg_17_5 Current=3A IsPositive=false
  Current_404: Current Objects=Coil_neg_17_6 Current=3A IsPositive=false
  Current_405: Current Objects=Coil_neg_17_7 Current=3A IsPositive=false
  Current_406: Current Objects=Coil_neg_17_8 Current=3A IsPositive=false
  Current_407: Current Objects=Coil_neg_18 Current=3A IsPositive=false
  Current_408: Current Objects=Coil_neg_18_1 Current=3A IsPositive=false
  Current_409: Current Objects=Coil_neg_18_2 Current=3A IsPositive=false
  Current_410: Current Objects=Coil_neg_18_3 Current=3A IsPositive=false
  Current_411: Current Objects=Coil_neg_18_4 Current=3A IsPositive=false
  Current_412: Current Objects=Coil_neg_18_5 Current=3A IsPositive=false
  Current_413: Current Objects=Coil_neg_18_6 Current=3A IsPositive=false
  Current_414: Current Objects=Coil_neg_18_7 Current=3A IsPositive=false
  Current_415: Current Objects=Coil_neg_18_8 Current=3A IsPositive=false
  Current_416: Current Objects=Coil_neg_19 Current=3A IsPositive=false
  Current_417: Current Objects=Coil_neg_19_1 Current=3A IsPositive=false
  Current_418: Current Objects=Coil_neg_19_2 Current=3A IsPositive=false
  Current_419: Current Objects=Coil_neg_19_3 Current=3A IsPositive=false
  Current_420: Current Objects=Coil_neg_19_4 Current=3A IsPositive=false
  Current_421: Current Objects=Coil_neg_19_5 Current=3A IsPositive=false
  Current_422: Current Objects=Coil_neg_19_6 Current=3A IsPositive=false
  Current_423: Current Objects=Coil_neg_19_7 Current=3A IsPositive=false
  Current_424: Current Objects=Coil_neg_19_8 Current=3A IsPositive=false
  Current_425: Current Objects=Coil_neg_20 Current=3A IsPositive=false
  Current_426: Current Objects=Coil_neg_20_1 Current=3A IsPositive=false
  Current_427: Current Objects=Coil_neg_20_2 Current=3A IsPositive=false
  Current_428: Current Objects=Coil_neg_20_3 Current=3A IsPositive=false
  Current_429: Current Objects=Coil_neg_20_4 Current=3A IsPositive=false
  Current_430: Current Objects=Coil_neg_20_5 Current=3A IsPositive=false
  Current_431: Current Objects=Coil_neg_20_6 Current=3A IsPositive=false
  Current_432: Current Objects=Coil_neg_20_7 Current=3A IsPositive=false
  Current_433: Current Objects=Coil_neg_20_8 Current=3A IsPositive=false
  Current_434: Current Objects=Coil_neg_21 Current=3A IsPositive=false
  Current_435: Current Objects=Coil_neg_21_1 Current=3A IsPositive=false
  Current_436: Current Objects=Coil_neg_21_2 Current=3A IsPositive=false
  Current_437: Current Objects=Coil_neg_21_3 Current=3A IsPositive=false
  Current_438: Current Objects=Coil_neg_21_4 Current=3A IsPositive=false
  Current_439: Current Objects=Coil_neg_21_5 Current=3A IsPositive=false
  Current_440: Current Objects=Coil_neg_21_6 Current=3A IsPositive=false
  Current_441: Current Objects=Coil_neg_21_7 Current=3A IsPositive=false
  Current_442: Current Objects=Coil_neg_21_8 Current=3A IsPositive=false
  Current_443: Current Objects=Coil_neg_22 Current=3A IsPositive=false
  Current_444: Current Objects=Coil_neg_22_1 Current=3A IsPositive=false
  Current_445: Current Objects=Coil_neg_22_2 Current=3A IsPositive=false
  Current_446: Current Objects=Coil_neg_22_3 Current=3A IsPositive=false
  Current_447: Current Objects=Coil_neg_22_4 Current=3A IsPositive=false
  Current_448: Current Objects=Coil_neg_22_5 Current=3A IsPositive=false
  Current_449: Current Objects=Coil_neg_22_6 Current=3A IsPositive=false
  Current_450: Current Objects=Coil_neg_22_7 Current=3A IsPositive=false
  Current_451: Current Objects=Coil_neg_22_8 Current=3A IsPositive=false
  Current_452: Current Objects=Coil_neg_23 Current=3A IsPositive=false
  Current_453: Current Objects=Coil_neg_23_1 Current=3A IsPositive=false
  Current_454: Current Objects=Coil_neg_23_2 Current=3A IsPositive=false
  Current_455: Current Objects=Coil_neg_23_3 Current=3A IsPositive=false
  Current_456: Current Objects=Coil_neg_23_4 Current=3A IsPositive=false
  Current_457: Current Objects=Coil_neg_23_5 Current=3A IsPositive=false
  Current_458: Current Objects=Coil_neg_23_6 Current=3A IsPositive=false
  Current_459: Current Objects=Coil_neg_23_7 Current=3A IsPositive=false
  Current_460: Current Objects=Coil_neg_23_8 Current=3A IsPositive=false
  Current_461: Current Objects=Coil_neg_24 Current=3A IsPositive=false
  Current_462: Current Objects=Coil_neg_24_1 Current=3A IsPositive=false
  Current_463: Current Objects=Coil_neg_24_2 Current=3A IsPositive=false
  Current_464: Current Objects=Coil_neg_24_3 Current=3A IsPositive=false
  Current_465: Current Objects=Coil_neg_24_4 Current=3A IsPositive=false
  Current_466: Current Objects=Coil_neg_24_5 Current=3A IsPositive=false
  Current_467: Current Objects=Coil_neg_24_6 Current=3A IsPositive=false
  Current_468: Current Objects=Coil_neg_24_7 Current=3A IsPositive=false
  Current_469: Current Objects=Coil_neg_24_8 Current=3A IsPositive=false
  Current_470: Current Objects=Coil_neg_25 Current=3A IsPositive=false
  Current_471: Current Objects=Coil_neg_25_1 Current=3A IsPositive=false
  Current_472: Current Objects=Coil_neg_25_2 Current=3A IsPositive=false
  Current_473: Current Objects=Coil_neg_25_3 Current=3A IsPositive=false
  Current_474: Current Objects=Coil_neg_25_4 Current=3A IsPositive=false
  Current_475: Current Objects=Coil_neg_25_5 Current=3A IsPositive=false
  Current_476: Current Objects=Coil_neg_25_6 Current=3A IsPositive=false
  Current_477: Current Objects=Coil_neg_25_7 Current=3A IsPositive=false
  Current_478: Current Objects=Coil_neg_25_8 Current=3A IsPositive=false
  Current_479: Current Objects=Coil_neg_26 Current=3A IsPositive=false
  Current_480: Current Objects=Coil_neg_26_1 Current=3A IsPositive=false
  Current_481: Current Objects=Coil_neg_26_2 Current=3A IsPositive=false
  Current_482: Current Objects=Coil_neg_26_3 Current=3A IsPositive=false
  Current_483: Current Objects=Coil_neg_26_4 Current=3A IsPositive=false
  Current_484: Current Objects=Coil_neg_26_5 Current=3A IsPositive=false
  Current_485: Current Objects=Coil_neg_26_6 Current=3A IsPositive=false
  Current_486: Current Objects=Coil_neg_26_7 Current=3A IsPositive=false
  Current_487: Current Objects=Coil_neg_26_8 Current=3A IsPositive=false
  Current_488: Current Objects=Coil_neg_27 Current=3A IsPositive=false
  Current_489: Current Objects=Coil_neg_27_1 Current=3A IsPositive=false
  Current_490: Current Objects=Coil_neg_27_2 Current=3A IsPositive=false
  Current_491: Current Objects=Coil_neg_27_3 Current=3A IsPositive=false
  Current_492: Current Objects=Coil_neg_27_4 Current=3A IsPositive=false
  Current_493: Current Objects=Coil_neg_27_5 Current=3A IsPositive=false
  Current_494: Current Objects=Coil_neg_27_6 Current=3A IsPositive=false
  Current_495: Current Objects=Coil_neg_27_7 Current=3A IsPositive=false
  Current_497: Current Objects=Coil_neg_28 Current=3A IsPositive=false
  Current_498: Current Objects=Coil_neg_29 Current=3A IsPositive=false
  Current_499: Current Objects=Coil_neg_30 Current=3A IsPositive=false
  Current_500: Current Objects=Coil_neg_31 Current=3A IsPositive=false
  Current_501: Current Objects=Coil_neg_32 Current=3A IsPositive=false
  Current_502: Current Objects=Coil_neg_33 Current=3A IsPositive=false
  Current_503: Current Objects=Coil_neg_34 Current=3A IsPositive=false
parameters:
  Matrix1: Matrix Current_1..Current_243, Current_245..Current_251, Current_253..Current_495, Current_497..Current_503: NumberOfTurns=1; group Group1 = Current_1..Current_243, Current_245..Current_251 (1 parallel); group Group2 = Current_253..Current_495, Current_497..Current_503 (1 parallel)
  Rotor_Torque: Torque Coordinate_System=Global Is_Positive=true Objects=Rotor
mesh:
  initial mesh: MeshMethod=AnsoftTAU
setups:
  Setup1: Magnetostatic MaximumPasses=15 MinimumPasses=2 MinimumConvergedPasses=1 PercentRefinement=30 PercentError=1 ConstantDelta=0s NonLinearResidual=0.0001
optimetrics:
  ParametricSetup1: Parametric Sim._Setups=[Setup1]
    sweep theta_rot: LIN 0deg 180deg 5deg
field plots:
  B_Vector1: B over Rotor, Core, Region on Setup1 : LastAdaptive
